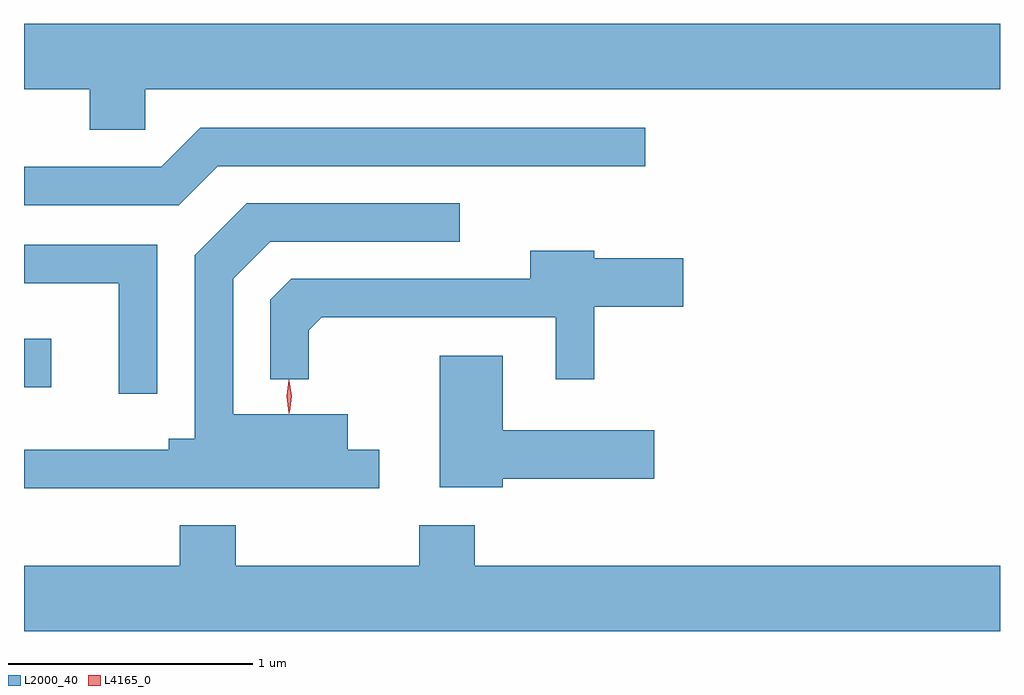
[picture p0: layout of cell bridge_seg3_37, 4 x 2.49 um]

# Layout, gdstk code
import gdstk
lib = gdstk.Library(unit=1e-6, precision=1e-09)
def R(c, l, rs):  # rectangles x0, y0, x1, y1
    for r in rs: c.add(gdstk.rectangle(r[:2], r[2:], *l))
def P(c, l, *ps):  # polygons
    for p in ps: c.add(gdstk.Polygon(p, *l))
L2000_40 = (2000, 40)
L4165_0 = (4165, 0)

bridge_seg3_37 = lib.new_cell('bridge_seg3_37')
R(bridge_seg3_37, L2000_40, [(1303.952,1140.336,1304.064,1140.534)])
P(bridge_seg3_37, L2000_40, [(1304.449,1141.556),(1307.952,1141.556),(1307.952,1141.824),(1303.952,1141.824),(1303.952,1141.556),(1304.221,1141.556),(1304.221,1141.391),(1304.449,1141.391)],
  [(1304.747,1141.241),(1306.498,1141.241),(1306.498,1141.399),(1304.674,1141.399),(1304.514,1141.239),(1303.952,1141.239),(1303.952,1141.081),(1304.587,1141.081)],
  [(1305.408,1140.079),(1305.279,1140.079),(1305.279,1140.224),(1304.809,1140.224),(1304.809,1140.779),(1304.962,1140.931),(1305.738,1140.931),(1305.738,1141.089),(1304.864,1141.089),(1304.651,1140.877),(1304.651,1140.124),(1304.546,1140.124),(1304.546,1140.079),(1303.952,1140.079),(1303.952,1139.921),(1305.408,1139.921)],
  [(1304.499,1140.919),(1303.952,1140.919),(1303.952,1140.761),(1304.341,1140.761),(1304.341,1140.308),(1304.499,1140.308)],
  [(1305.119,1140.569),(1305.172,1140.621),(1306.131,1140.621),(1306.131,1140.368),(1306.289,1140.368),(1306.289,1140.666),(1306.654,1140.666),(1306.654,1140.864),(1306.289,1140.864),(1306.289,1140.894),(1306.026,1140.894),(1306.026,1140.779),(1305.047,1140.779),(1304.961,1140.694),(1304.961,1140.368),(1305.119,1140.368)],
  [(1305.914,1139.961),(1306.534,1139.961),(1306.534,1140.159),(1305.914,1140.159),(1305.914,1140.464),(1305.656,1140.464),(1305.656,1139.926),(1305.914,1139.926)],
  [(1307.952,1139.604),(1305.799,1139.604),(1305.799,1139.769),(1305.571,1139.769),(1305.571,1139.604),(1304.819,1139.604),(1304.819,1139.769),(1304.591,1139.769),(1304.591,1139.604),(1303.952,1139.604),(1303.952,1139.336),(1307.952,1139.336)])
P(bridge_seg3_37, L4165_0, [(1305.038,1140.229),(1305.028,1140.298),(1305.038,1140.366),(1305.038,1140.366),(1305.038,1140.366),(1305.048,1140.298),(1305.04,1140.229),(1305.039,1140.229)],
  [(1305.041,1140.234),(1305.041,1140.234),(1305.031,1140.298),(1305.04,1140.362),(1305.04,1140.363),(1305.04,1140.362),(1305.05,1140.298),(1305.042,1140.234)])

lib.write_gds('bridge_seg3_37.gds')
